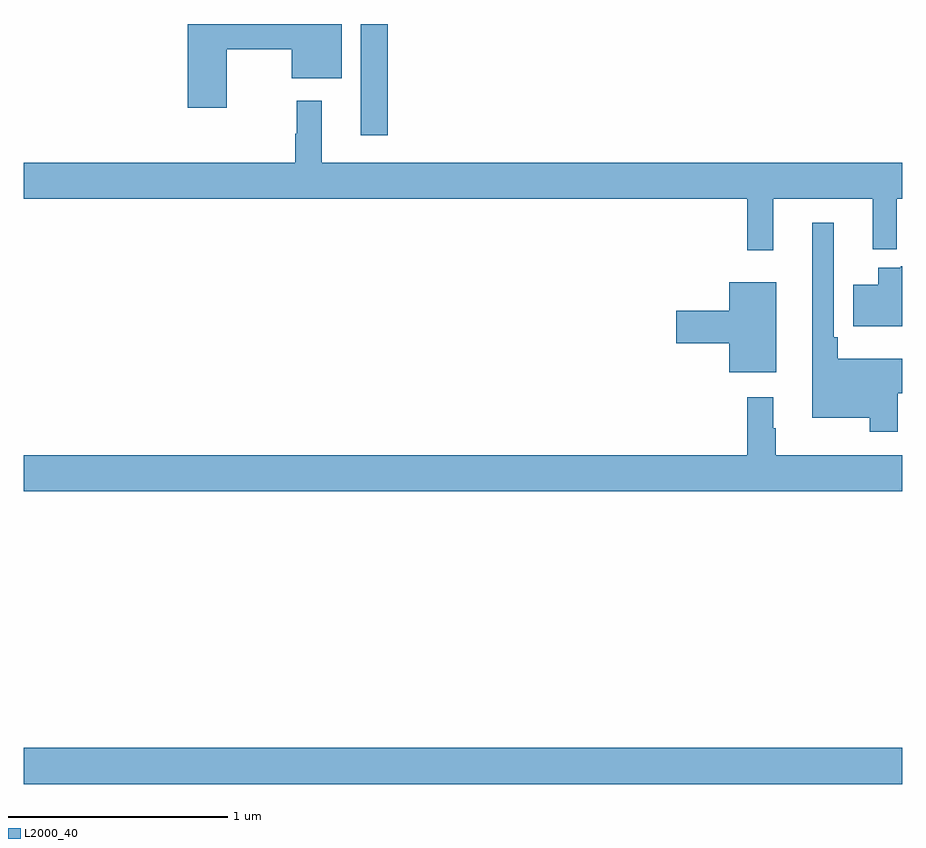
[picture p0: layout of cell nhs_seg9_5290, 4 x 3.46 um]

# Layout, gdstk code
import gdstk
lib = gdstk.Library(unit=1e-6, precision=1e-09)
def R(c, l, rs):  # rectangles x0, y0, x1, y1
    for r in rs: c.add(gdstk.rectangle(r[:2], r[2:], *l))
def P(c, l, *ps):  # polygons
    for p in ps: c.add(gdstk.Polygon(p, *l))
L2000_40 = (2000, 40)

nhs_seg9_5290 = lib.new_cell('nhs_seg9_5290')
R(nhs_seg9_5290, L2000_40, [(417,1243.04,421,1243.204), (418.535,1245.993,418.657,1246.5)])
P(nhs_seg9_5290, L2000_40, [(417.924,1246.384),(418.22,1246.384),(418.22,1246.253),(418.447,1246.253),(418.447,1246.5),(417.746,1246.5),(417.746,1246.119),(417.924,1246.119)],
  [(420.413,1245.704),(420.866,1245.704),(420.866,1245.475),(420.974,1245.475),(420.974,1245.704),(421,1245.704),(421,1245.868),(418.357,1245.868),(418.357,1246.15),(418.243,1246.15),(418.243,1246.001),(418.236,1246.001),(418.236,1245.868),(417,1245.868),(417,1245.704),(420.295,1245.704),(420.295,1245.471),(420.413,1245.471)],
  [(420.98,1244.819),(421,1244.819),(421,1244.977),(420.707,1244.977),(420.707,1245.073),(420.687,1245.073),(420.687,1245.595),(420.59,1245.595),(420.59,1244.708),(420.852,1244.708),(420.852,1244.643),(420.98,1244.643)],
  [(421,1245.396),(420.994,1245.396),(420.994,1245.39),(420.89,1245.39),(420.89,1245.313),(420.776,1245.313),(420.776,1245.125),(421,1245.125)],
  [(420.427,1245.325),(420.212,1245.325),(420.212,1245.194),(419.97,1245.194),(419.97,1245.047),(420.212,1245.047),(420.212,1244.915),(420.427,1244.915)],
  [(421,1244.536),(420.424,1244.536),(420.424,1244.66),(420.412,1244.66),(420.412,1244.8),(420.295,1244.8),(420.295,1244.536),(417,1244.536),(417,1244.372),(421,1244.372)])

lib.write_gds('nhs_seg9_5290.gds')
